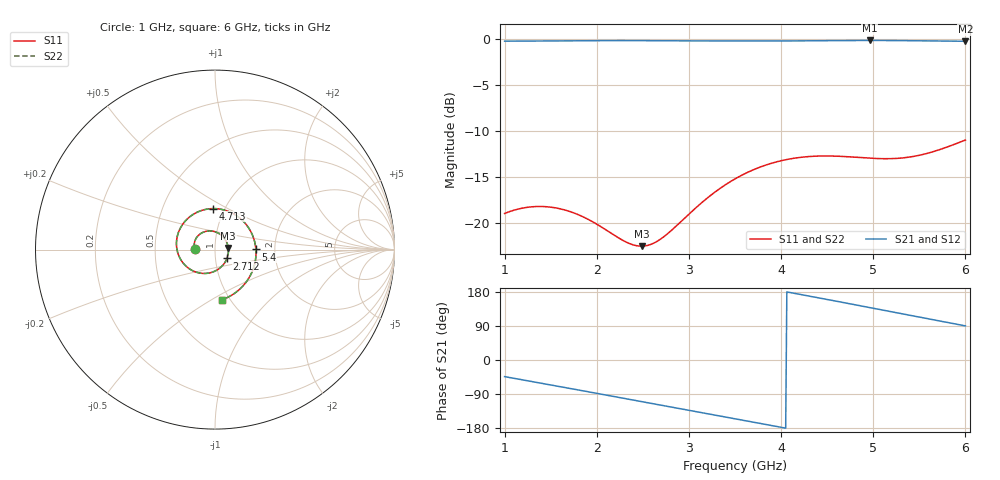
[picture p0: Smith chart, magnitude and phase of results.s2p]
! rfsim (KiCad + openEMS)
# HZ S RI R 50
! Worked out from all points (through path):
!   401 points, 1 GHz to 6 GHz, reference 50 ohm
!   highest |S21| = -0.16 dB at 4.963 GHz (marker M1); lowest = -0.2 dB at 6 GHz (marker M2)
!   group delay of S21, straight-line fit = 125 ps
!   lowest |S11| = -22.6 dB at 2.487 GHz (marker M3), VSWR 1.16, Z = 58 + j1.08 ohm
!   |S11| at or under -10 dB: start of sweep to end of sweep
!   |S22| runs from -22.6 to -11.0 dB; largest |S21 - S12| = 2.1e-06
!   S11 on the Smith chart (normalised r, x): 1 GHz: 0.80, +0.01; 2.712 GHz: 1.14, -0.11; 4.713 GHz: 0.88, +0.42; 5.4 GHz: 1.59, +0.00; 6 GHz: 0.92, -0.56
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1e9  -0.1122 0.00416  0.7017 -0.6743  0.7017 -0.6743  -0.1122 0.00417
1.4125e9  -0.1022 0.0675  0.4589 -0.8605  0.4589 -0.8605  -0.1022 0.0675
1.8375e9  -0.0307 0.104  0.1576 -0.966  0.1576 -0.966  -0.0307 0.104
2.1625e9  0.0368 0.0791  -0.0904 -0.9764  -0.0904 -0.9764  0.0368 0.0791
2.35e9  0.0642 0.0428  -0.2326 -0.9524  -0.2326 -0.9524  0.0642 0.0428
2.4875e9  0.0739 0.00926  -0.3335 -0.9211  -0.3335 -0.9211  0.0739 0.00926
2.675e9  0.0699 -0.0395  -0.4636 -0.8614  -0.4636 -0.8614  0.0699 -0.0395
2.7125e9  0.0667 -0.049  -0.4884 -0.8472  -0.4884 -0.8472  0.0667 -0.049
3.1375e9  -0.0188 -0.127  -0.736 -0.6415  -0.736 -0.6415  -0.0188 -0.127
3.5e9  -0.1293 -0.1152  -0.885 -0.4098  -0.885 -0.4098  -0.1293 -0.1152
3.7375e9  -0.1885 -0.0597  -0.945 -0.2394  -0.945 -0.2394  -0.1885 -0.0597
3.95e9  -0.2139 0.0142  -0.972 -0.0796  -0.972 -0.0796  -0.2139 0.0142
4.1375e9  -0.2064 0.0875  -0.9741 0.064  -0.9741 0.064  -0.2064 0.0875
4.3375e9  -0.1649 0.1599  -0.9534 0.217  -0.9534 0.217  -0.1649 0.1599
4.5375e9  -0.0924 0.2114  -0.9084 0.3664  -0.9084 0.3664  -0.0924 0.2114
4.7125e9  -0.0117 0.2285  -0.8492 0.491  -0.8492 0.491  -0.0117 0.2285
4.9625e9  0.1083 0.1966  -0.7335 0.6526  -0.7335 0.6526  0.1083 0.1966
5.175e9  0.1889 0.1188  -0.6095 0.7688  -0.6095 0.7688  0.1889 0.1188
5.4e9  0.2279 0.000947  -0.458 0.8653  -0.458 0.8653  0.2279 0.000947
5.675e9  0.1921 -0.1532  -0.2539 0.9419  -0.2539 0.9419  0.1921 -0.1532
5.85e9  0.1227 -0.2332  -0.1181 0.9661  -0.1181 0.9661  0.1227 -0.2332
6e9  0.0404 -0.2789  -0.000463 0.9717  -0.000464 0.9717  0.0404 -0.2789
